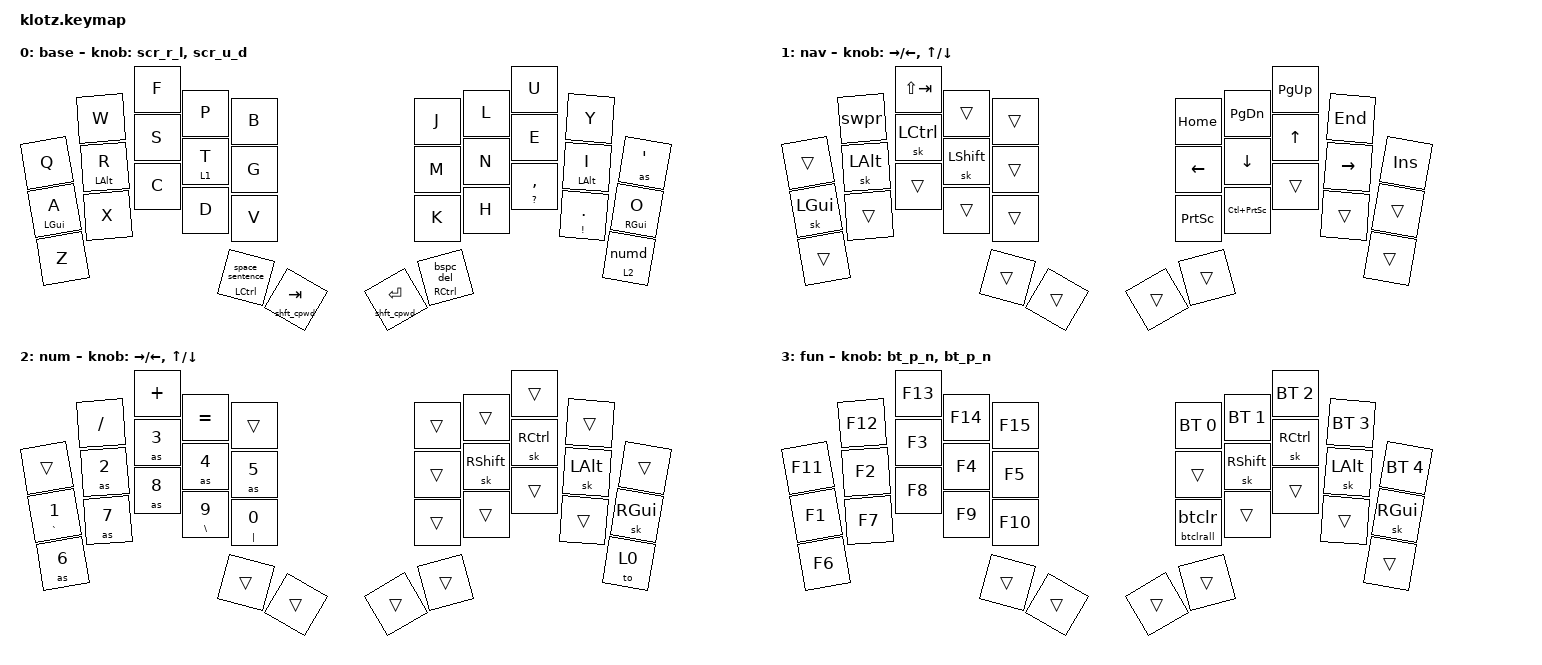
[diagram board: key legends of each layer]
#include <behaviors/num_word.dtsi>
#include <behaviors.dtsi>
#include <dt-bindings/zmk/bt.h>
#include <dt-bindings/zmk/keys.h>
#include <dt-bindings/zmk/pointing.h>

&lt {
    tapping-term-ms = <220>;
    quick-tap-ms = <220>;
    flavor = "tap-preferred";
    require-prior-idle-ms = <150>;
};

&mt {
    tapping-term-ms = <220>;
    quick-tap-ms = <220>;
    flavor = "tap-preferred";
    require-prior-idle-ms = <150>;
};

&sk {
    release-after-ms = <900>;
    quick-release;
};

&sl { ignore-modifiers; };

/ {
    behaviors {
        hml: home_row_mod_left {
            display-name = "Home Row Mod (Left)";
            compatible = "zmk,behavior-hold-tap";
            #binding-cells = <2>;
            bindings = <&kp>, <&kp>;

            tapping-term-ms = <280>;
            quick-tap-ms = <175>;
            require-prior-idle-ms = <150>;
            flavor = "balanced";
            hold-trigger-on-release;
            hold-trigger-key-positions = <5 6 7 8 9 15 16 17 18 19 25 26 27 28 29 30 31 32 33>;
        };

        hmr: home_row_mod_right {
            display-name = "Home Row Mod (Right)";
            compatible = "zmk,behavior-hold-tap";
            bindings = <&kp>, <&kp>;

            #binding-cells = <2>;
            tapping-term-ms = <280>;
            quick-tap-ms = <175>;
            require-prior-idle-ms = <150>;
            flavor = "balanced";
            hold-trigger-on-release;
            hold-trigger-key-positions = <0 1 2 3 4 10 11 12 13 14 20 21 22 23 24 30 31 32 33>;
        };

        hll: home_row_layer_tap_left {
            compatible = "zmk,behavior-hold-tap";
            bindings = <&mo>, <&kp>;

            #binding-cells = <2>;
            tapping-term-ms = <280>;
            quick-tap-ms = <175>;
            require-prior-idle-ms = <150>;
            flavor = "balanced";
            hold-trigger-on-release;
            hold-trigger-key-positions = <5 6 7 8 9 15 16 17 18 19 25 26 27 28 29 30 31 32 33>;
        };

        hlr: home_row_layer_tap_right {
            compatible = "zmk,behavior-hold-tap";
            bindings = <&mo>, <&kp>;

            #binding-cells = <2>;
            tapping-term-ms = <280>;
            quick-tap-ms = <175>;
            require-prior-idle-ms = <150>;
            flavor = "balanced";
            hold-trigger-on-release;
            hold-trigger-key-positions = <0 1 2 3 4 10 11 12 13 14 20 21 22 23 24 30 31 32 33>;
        };

        btclr_ht: bluetooth_clear_hold_tap {
            compatible = "zmk,behavior-hold-tap";
            display-name = "Bluetooth Clear Hold-Tap";
            bindings = <&btclrall>, <&btclr>;

            #binding-cells = <2>;
            tapping-term-ms = <5000>;
            flavor = "tap-preferred";
        };

        as_ht: autoshift_hold_tap {
            compatible = "zmk,behavior-hold-tap";
            display-name = "Autoshift Hold-Tap";
            bindings = <&sh>, <&kp>;

            #binding-cells = <2>;
            tapping-term-ms = <135>;
            flavor = "tap-preferred";
        };

        numd: num_dance {
            compatible = "zmk,behavior-tap-dance";
            display-name = "Num Dance";
            bindings = <&sl 2>, <&num_word 2>;

            #binding-cells = <0>;
            tapping-term-ms = <200>;
        };

        // Tap: sticky num-layer | double-tap: num_word | hold: num-layer
        // see: https://github.com/urob/zmk-config/config/base.keymap:116-121

        mnum: magic_num {
            compatible = "zmk,behavior-hold-tap";
            display-name = "Magic Number Layer-Tap";
            bindings = <&mo>, <&numd>;

            #binding-cells = <2>;
            tapping-term-ms = <200>;
            quick-tap-ms = <175>;
            flavor = "balanced";
        };

        shft_cpwd: shift_capsword {
            compatible = "zmk,behavior-mod-morph";
            display-name = "Shift Caps-Word";
            bindings = <&sk LSHFT>, <&caps_word>;

            #binding-cells = <0>;
            mods = <(MOD_LSFT|MOD_RSFT)>;
        };

        mshft: magic_shift {
            compatible = "zmk,behavior-hold-tap";
            display-name = "Magic Shift";
            bindings = <&shft_cpwd>, <&kp>;

            #binding-cells = <2>;
            tapping-term-ms = <200>;
            quick-tap-ms = <175>;
            flavor = "balanced";
        };

        bspc_del: bspc_del {
            compatible = "zmk,behavior-mod-morph";
            bindings = <&kp BSPC>, <&kp DEL>;

            #binding-cells = <0>;
            mods = <(MOD_LSFT|MOD_RSFT)>;
        };

        space_sentence: space_sentence {
            compatible = "zmk,behavior-mod-morph";
            bindings = <&kp SPACE>, <&sentence>;

            #binding-cells = <0>;
            mods = <(MOD_LSFT|MOD_RSFT)>;
        };

        h_sp: hold_space_sentence {
            compatible = "zmk,behavior-hold-tap";
            bindings = <&kp>, <&space_sentence>;

            #binding-cells = <2>;
            tapping-term-ms = <220>;
            quick-tap-ms = <175>;
            require-prior-idle-ms = <150>;
            flavor = "balanced";
        };

        h_bs: hold_backspace_delete {
            compatible = "zmk,behavior-hold-tap";
            bindings = <&kp>, <&bspc_del>;

            #binding-cells = <2>;
            tapping-term-ms = <220>;
            quick-tap-ms = <175>;
            require-prior-idle-ms = <150>;
            flavor = "balanced";
        };

        scr_r_l: scroll_right_left {
            compatible = "zmk,behavior-sensor-rotate";
            label = "Scroll Right-Left";
            #sensor-binding-cells = <0>;
            bindings = <&msc SCRL_RIGHT>, <&msc SCRL_LEFT>;

            tap-ms = <250>;
        };

        scr_u_d: scroll_up_down {
            compatible = "zmk,behavior-sensor-rotate";
            label = "Scroll Up-Down";
            #sensor-binding-cells = <0>;
            bindings = <&msc SCRL_UP>, <&msc SCRL_DOWN>;

            tap-ms = <250>;
        };

        bt_p_n: bt_prev_next {
            compatible = "zmk,behavior-sensor-rotate";
            label = "Bluetooth Prev-Next";
            #sensor-binding-cells = <0>;
            bindings = <&bt BT_PRV>, <&bt BT_NXT>;
        };

        swpr: swapper {
            compatible = "zmk,behavior-tri-state";
            display-name = "Swapper";
            #binding-cells = <0>;
            bindings = <&kt LALT>, <&kp TAB>, <&kt LALT>;

            ignored-key-positions = <1 3>;
        };
    };

    macros {
        sh: shifted {
            compatible = "zmk,behavior-macro-one-param";
            display-name = "shifted";
            bindings =
                <&macro_press>,
                <&kp LSHFT &macro_param_1to1>,
                <&macro_tap>,
                <&kp MACRO_PLACEHOLDER>,
                <&macro_release>,
                <&kp LSHFT>;

            #binding-cells = <1>;
        };

        as: autoshift {
            compatible = "zmk,behavior-macro-one-param";
            display-name = "Autoshift";
            bindings =
                <&macro_press>,
                <&macro_param_1to1 &macro_param_1to2 &as_ht MACRO_PLACEHOLDER MACRO_PLACEHOLDER>,
                <&macro_pause_for_release>,
                <&macro_release>,
                <&macro_param_1to1 &macro_param_1to2 &as_ht MACRO_PLACEHOLDER MACRO_PLACEHOLDER>;

            #binding-cells = <1>;
        };

        sentence: sentence {
            compatible = "zmk,behavior-macro";
            #binding-cells = <0>;
            bindings = <&macro_tap>, <&kp DOT &kp SPACE &sk LSHFT>;

            label = "SENTENCE";
        };

        btclr: bluetooth_clear {
            compatible = "zmk,behavior-macro";
            #binding-cells = <0>;
            bindings = <&macro_tap>, <&bt BT_CLR>;
        };

        btclrall: bluetooth_clear_all {
            compatible = "zmk,behavior-macro";
            #binding-cells = <0>;
            bindings = <&macro_tap>, <&bt BT_CLR_ALL>;
        };
    };

    combos {
        compatible = "zmk,combos";

        lt5 {
            bindings = <&kp ESC>;
            key-positions = <0 10>;
        };

        lt4 {
            bindings = <&kp LBRC>;
            key-positions = <1 11>;
        };

        lt3 {
            bindings = <&kp LBKT>;
            key-positions = <2 12>;
        };

        lt2 {
            bindings = <&kp LPAR>;
            key-positions = <3 13>;
        };

        lt1 {
            bindings = <&kp LT>;
            key-positions = <4 14>;
        };

        rt1 {
            bindings = <&kp GT>;
            key-positions = <5 15>;
        };

        rt2 {
            bindings = <&kp RPAR>;
            key-positions = <6 16>;
        };

        rt3 {
            bindings = <&kp RBKT>;
            key-positions = <7 17>;
        };

        rt4 {
            bindings = <&kp RBRC>;
            key-positions = <8 18>;
        };

        rt5 {
            bindings = <&none>;
            key-positions = <9 19>;
        };

        lb5 {
            bindings = <&none>;
            key-positions = <10 20>;
        };

        lb4 {
            bindings = <&kp GRAVE>;
            key-positions = <11 21>;
        };

        lb3 {
            bindings = <&kp SEMI>;
            key-positions = <12 22>;
        };

        lb2 {
            bindings = <&kp BSLH>;
            key-positions = <13 23>;
        };

        lb1 {
            bindings = <&kp UNDER>;
            key-positions = <14 24>;
        };

        rb1 {
            bindings = <&kp MINUS>;
            key-positions = <15 25>;
        };

        rb2 {
            bindings = <&kp FSLH>;
            key-positions = <16 26>;
        };

        rb3 {
            bindings = <&kp COLON>;
            key-positions = <17 27>;
        };

        rb4 {
            bindings = <&kp TILDE>;
            key-positions = <18 28>;
        };

        rb5 {
            bindings = <&none>;
            key-positions = <19 29>;
        };

        launcher {
            bindings = <&kp LG(SPACE)>;
            key-positions = <11 13>;
        };

        function {
            bindings = <&sl 3>;
            key-positions = <6 8>;
        };

        escape {
            bindings = <&kp ESC>;
            key-positions = <11 12 13>;
        };
    };

    keymap {
        compatible = "zmk,keymap";

        base {
            display-name = "base";
            bindings = <
&kp Q        &kp W        &kp F  &kp P          &kp B         &kp J         &kp L          &kp U               &kp Y            &as SQT
&hml LGUI A  &hml LALT R  &kp S  &hll 1 T       &kp G         &kp M         &kp N          &kp E               &hmr LALT I      &hmr RGUI O
&kp Z        &kp X        &kp C  &kp D          &kp V         &kp K         &kp H          &as_ht QMARK COMMA  &as_ht EXCL DOT  &mnum 2 0
                                 &h_sp LCTRL 0  &mshft 0 TAB  &mshft 0 RET  &h_bs RCTRL 0
            >;

            sensor-bindings = <&scr_r_l &scr_u_d>;
        };

        navigation {
            display-name = "nav";
            bindings = <
&trans    &swpr     &kp LS(TAB)  &trans     &trans  &kp HOME   &kp PG_DN      &kp PG_UP  &kp END    &kp INS
&sk LGUI  &sk LALT  &sk LCTRL    &sk LSHFT  &trans  &kp LEFT   &kp DOWN       &kp UP     &kp RIGHT  &trans
&trans    &trans    &trans       &trans     &trans  &kp PSCRN  &kp LC(PSCRN)  &trans     &trans     &trans
                                 &trans     &trans  &trans     &trans
            >;

            sensor-bindings = <&inc_dec_kp RIGHT LEFT &inc_dec_kp UP DOWN>;
        };

        number {
            display-name = "num";
            bindings = <
&trans           &kp FSLH  &kp PLUS  &kp EQUAL       &trans          &trans  &trans     &trans     &trans    &trans
&as_ht GRAVE N1  &as N2    &as N3    &as N4          &as N5          &trans  &sk RSHFT  &sk RCTRL  &sk LALT  &sk RGUI
&as N6           &as N7    &as N8    &as_ht BSLH N9  &as_ht PIPE N0  &trans  &trans     &trans     &trans    &to 0
                                     &trans          &trans          &trans  &trans
            >;

            sensor-bindings = <&inc_dec_kp RIGHT LEFT>, <&inc_dec_kp UP DOWN>;
        };

        function {
            display-name = "fun";
            bindings = <
&kp F11  &kp F12  &kp F13  &kp F14  &kp F15  &bt BT_SEL 0   &bt BT_SEL 1  &bt BT_SEL 2  &bt BT_SEL 3  &bt BT_SEL 4
&kp F1   &kp F2   &kp F3   &kp F4   &kp F5   &trans         &sk RSHFT     &sk RCTRL     &sk LALT      &sk RGUI
&kp F6   &kp F7   &kp F8   &kp F9   &kp F10  &btclr_ht 0 0  &trans        &trans        &trans        &trans
                           &trans   &trans   &trans         &trans
            >;

            sensor-bindings = <&bt_p_n &bt_p_n>;
        };
    };
};
